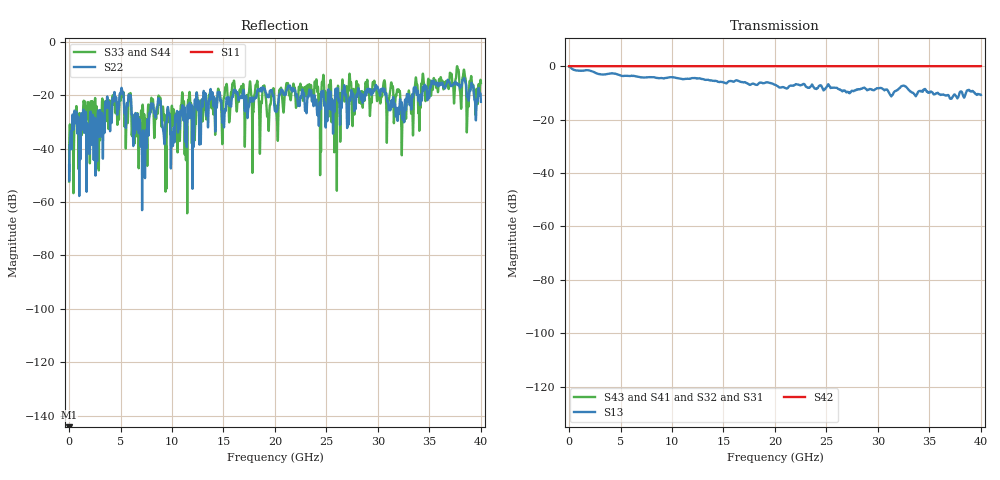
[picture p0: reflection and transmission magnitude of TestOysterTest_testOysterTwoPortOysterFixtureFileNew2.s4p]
! File created by SignalIntegrity v1.1.1: Signal and Power Integrity Tools
! https://github.com/TeledyneLeCroy/SignalIntegrity
# MHz MA S R 50.0
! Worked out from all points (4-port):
!   8000 points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, 5 MHz to 40 GHz, reference 50 ohm
!   strongest paths, dB at 5 MHz, 10.01 GHz, 20 GHz, 30 GHz, 40 GHz:
!     S42: 0.0, 0.0, 0.0, 0.0, 0.0
!     S13: -0.2, -4.2, -7.0, -8.3, -10.8
!     S43: -, -, -, -, -
!     S41: -, -, -, -, -
!     S32: -, -, -, -, -
!     S31: -, -, -, -, -
!   lowest |S11| = - dB at 5 MHz (marker M1), VSWR 1.00, Z = 50 + j0 ohm
!   |S11| at or under -10 dB: start of sweep to end of sweep
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5  0 0.0  0 0.0  0.9803 -14.0  0 0.0
   0 0.0  0.004879 12.2  0 0.0  0.9839 -13.7
   0 0.0  0 0.0  0.002422 137.5  0 0.0
   0 0.0  1 0.0  0 0.0  0.002753 94.5
5095  0 0.0  0 0.0  0.6583 118.5  0 0.0
      0 0.0  0.1373 10.9  0 0.0  0.6583 118.5
      0 0.0  0 0.0  0.1281 -57.2  0 0.0
      0 0.0  1 0.0  0 0.0  0.1281 -57.2
7235  0 0.0  0 0.0  0.6153 38.9  0 0.0
      0 0.0  0.01396 55.0  0 0.0  0.6153 38.9
      0 0.0  0 0.0  0.0183 -2.5  0 0.0
      0 0.0  1 0.0  0 0.0  0.0183 -2.5
8735  0 0.0  0 0.0  0.5957 -95.3  0 0.0
      0 0.0  0.07988 78.1  0 0.0  0.5957 -95.3
      0 0.0  0 0.0  0.08418 28.1  0 0.0
      0 0.0  1 0.0  0 0.0  0.08418 28.1
10050  0 0.0  0 0.0  0.6194 -85.6  0 0.0
       0 0.0  0.01557 98.6  0 0.0  0.6194 -85.6
       0 0.0  0 0.0  0.03906 -47.5  0 0.0
       0 0.0  1 0.0  0 0.0  0.03906 -47.5
16155  0 0.0  0 0.0  0.5355 165.8  0 0.0
       0 0.0  0.1237 123.4  0 0.0  0.5355 165.8
       0 0.0  0 0.0  0.1073 -169.4  0 0.0
       0 0.0  1 0.0  0 0.0  0.1073 -169.4
40000  0 0.0  0 0.0  0.2886 153.0  0 0.0
       0 0.0  0.07486 -101.4  0 0.0  0.2886 153.0
       0 0.0  0 0.0  0.1691 119.2  0 0.0
       0 0.0  1 0.0  0 0.0  0.1691 119.2
